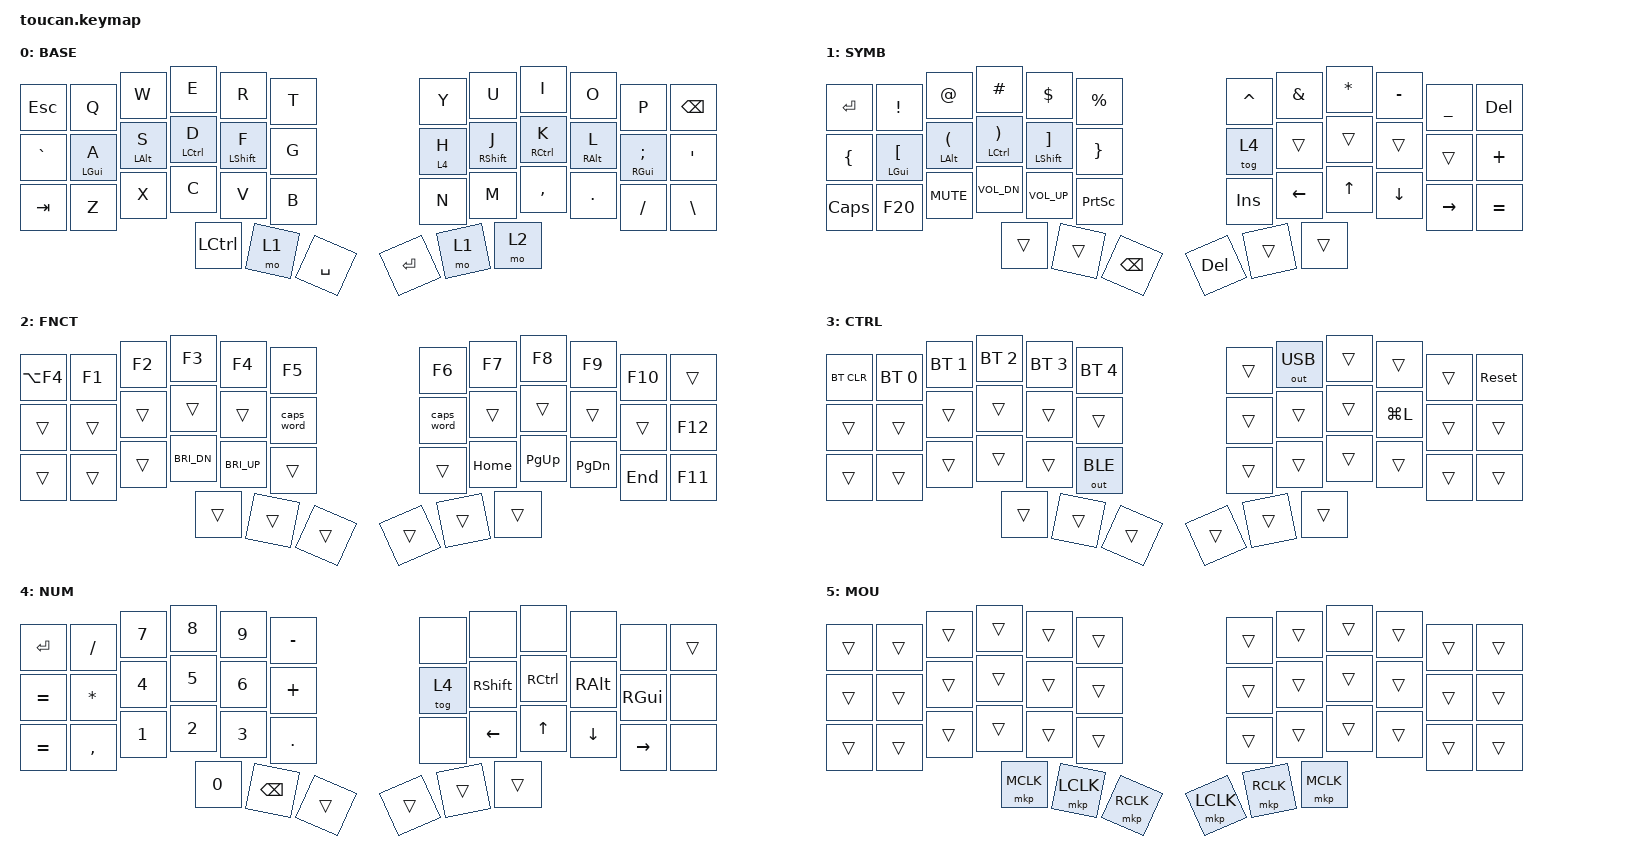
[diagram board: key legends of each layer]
#include <behaviors.dtsi>
#include <dt-bindings/zmk/keys.h>
#include <dt-bindings/zmk/bt.h>
#include <dt-bindings/zmk/outputs.h>
#include <dt-bindings/zmk/pointing.h>

/ {
    behaviors {
        hml: home_row_mod_left {
            compatible = "zmk,behavior-hold-tap";
            #binding-cells = <2>;
            flavor = "balanced";
            require-prior-idle-ms = <130>;
            tapping-term-ms = <250>;
            quick-tap-ms = <175>;
            bindings = <&kp>, <&kp>;
            hold-trigger-on-release;
        };
        hmr: home_row_mod_right {
            compatible = "zmk,behavior-hold-tap";
            #binding-cells = <2>;
            flavor = "balanced";
            require-prior-idle-ms = <130>;
            tapping-term-ms = <250>;
            quick-tap-ms = <175>;
            bindings = <&kp>, <&kp>;
            hold-trigger-on-release;
        };
        ltm: layer_tap_mo {
            compatible = "zmk,behavior-hold-tap";
            #binding-cells = <2>;
            flavor = "balanced";
            require-prior-idle-ms = <130>;
            tapping-term-ms = <250>;
            quick-tap-ms = <175>;
            bindings = <&mo>, <&kp>;
        };
    };

    conditional_layers {
        compatible = "zmk,conditional-layers";
        tri_layer {
            if-layers = <1 2>;
            then-layer = <3>;
        };
    };

    keymap {
        compatible = "zmk,keymap";

        base0 {
            display-name = "BASE";
            bindings = <

&kp ESC   &kp Q       &kp W        &kp E        &kp R         &kp T        &kp Y     &kp U         &kp I        &kp O         &kp P          &kp BSPC 
&kp GRAVE &hml LGUI A &hml LALT S  &hml LCTRL D &hml LSHIFT F &kp G        &ltm 4 H  &hmr RSHIFT J &hmr RCTRL K &hmr RALT L   &hmr RGUI SEMI &kp SQT
&kp TAB   &kp Z       &kp X        &kp C        &kp V         &kp B        &kp N     &kp M         &kp COMMA    &kp DOT       &kp FSLH       &kp BSLH
                
&kp LCTRL      &mo 1       &kp SPACE     &kp RET     &mo 1       &mo 2

            >;
        };

        symb1 {
            display-name = "SYMB";
            bindings = <

&kp RET    &kp EXCL       &kp AT           &kp HASH          &kp DLLR         &kp PRCNT          &kp CARET  &kp AMPS    &kp STAR   &kp MINUS &kp UNDER   &kp DEL 
&kp LBRC   &hml LGUI LBKT &hml LALT LPAR   &hml LCTRL RPAR   &hml LSHIFT RBKT &kp RBRC           &tog 4     &trans      &trans     &trans    &trans      &kp PLUS
&kp CAPS   &kp F20        &kp C_MUTE       &kp C_VOL_DN      &kp C_VOL_UP     &kp PSCRN          &kp INS    &kp LEFT    &kp UP     &kp DOWN  &kp RIGHT   &kp EQUAL

&trans        &trans     &kp BSPC        &kp DEL    &trans     &trans 

            >;
        };

        fnct2 {
            display-name = "FNCT";
            bindings = <
             
&kp LA(F4) &kp F1     &kp F2       &kp F3            &kp F4           &kp F5            &kp F6     &kp F7      &kp F8     &kp F9     &kp F10        &trans
&trans     &trans     &trans       &trans            &trans           &caps_word        &caps_word &trans      &trans     &trans     &trans         &kp F12
&trans     &trans     &trans       &kp C_BRI_DN      &kp C_BRI_UP     &trans            &trans     &kp HOME    &kp PG_UP  &kp PG_DN  &kp END        &kp F11

&trans     &trans   &trans             &trans    &trans      &trans

            >;
        }; 

        ctrl3 {
            display-name = "CTRL";
            bindings = <

&bt BT_CLR  &bt BT_SEL 0  &bt BT_SEL 1  &bt BT_SEL 2  &bt BT_SEL 3  &bt BT_SEL 4         &trans    &out OUT_USB &trans     &trans     &trans     &sys_reset
&trans      &trans        &trans        &trans        &trans        &trans               &trans    &trans       &trans     &kp LG(L)  &trans     &trans
&trans      &trans        &trans        &trans        &trans        &out OUT_BLE         &trans    &trans       &trans     &trans     &trans     &trans

&trans   &trans   &trans         &trans    &trans    &trans

            >;
        };

        num4 {
            display-name = "NUM";
            bindings = <

&kp RET     &kp FSLH      &kp N7        &kp N8        &kp N9        &kp MINUS        &none     &none        &none      &none      &none      &trans
&kp EQUAL   &kp STAR      &kp N4        &kp N5        &kp N6        &kp PLUS         &tog 4    &kp RSHIFT   &kp RCTRL  &kp RALT   &kp RGUI   &none
&kp EQUAL   &kp COMMA     &kp N1        &kp N2        &kp N3        &kp DOT          &none     &kp LEFT     &kp UP     &kp DOWN   &kp RIGHT  &none

&kp N0   &kp BSPC    &trans          &trans    &trans    &trans

            >;
        };
        
        mouse5 {
            display-name = "MOU";
            bindings = <

&trans &trans &trans &trans &trans &trans           &trans &trans &trans &trans &trans &trans
&trans &trans &trans &trans &trans &trans           &trans &trans &trans &trans &trans &trans
&trans &trans &trans &trans &trans &trans           &trans &trans &trans &trans &trans &trans

&mkp MCLK &mkp LCLK &mkp RCLK           &mkp LCLK &mkp RCLK &mkp MCLK

            >;
        };
    };
};
